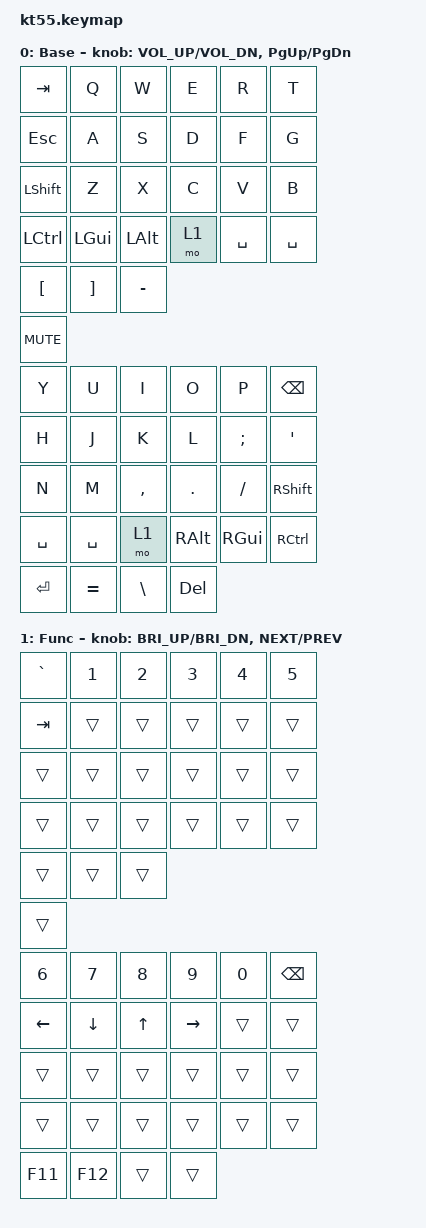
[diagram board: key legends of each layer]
/*
 * KT55 keymap
 *
 * Global key-position order = ALL of the left half's positions (0-27),
 * followed by ALL of the right half's positions (28-55). This matches
 * how ZMK numbers positions across a central(left)/peripheral(right)
 * split, so do NOT interleave left/right rows when editing this file.
 *
 * Left half (28 positions = 27 keys + 1 encoder1 push key):
 *   0-5   : row0 col0-5
 *   6-11  : row1 col0-5
 *   12-17 : row2 col0-5
 *   18-23 : row3 col0-5
 *   24-26 : row4 col0-2 (bottom row, 3 keys)
 *   27    : row4 col3  (encoder1 push switch)
 *
 * Right half (28 positions, global index = local + 28):
 *   28-33 : row0 col0-5
 *   34-39 : row1 col0-5
 *   40-45 : row2 col0-5
 *   46-51 : row3 col0-5
 *   52-55 : row4 col0-3 (bottom row, 4 keys)
 */

#include <behaviors.dtsi>
#include <dt-bindings/zmk/keys.h>
#include <dt-bindings/zmk/bt.h>
#include <dt-bindings/zmk/outputs.h>

/ {
    keymap {
        compatible = "zmk,keymap";

        default_layer {
            display-name = "Base";
            bindings = <
// ---- LEFT (positions 0-27) ----
&kp TAB    &kp Q    &kp W    &kp E    &kp R    &kp T
&kp ESC    &kp A    &kp S    &kp D    &kp F    &kp G
&kp LSHFT  &kp Z    &kp X    &kp C    &kp V    &kp B
&kp LCTRL  &kp LGUI &kp LALT &mo 1    &kp SPACE &kp SPACE
&kp LBKT   &kp RBKT &kp MINUS
&kp C_MUTE
// ---- RIGHT (positions 28-55) ----
&kp Y     &kp U    &kp I     &kp O   &kp P    &kp BSPC
&kp H     &kp J    &kp K     &kp L   &kp SEMI &kp SQT
&kp N     &kp M    &kp COMMA &kp DOT &kp FSLH &kp RSHFT
&kp SPACE &kp SPACE &mo 1    &kp RALT &kp RGUI &kp RCTRL
&kp ENTER &kp EQUAL &kp BSLH &kp DEL
            >;

            sensor-bindings = <&inc_dec_kp C_VOL_UP C_VOL_DN>, <&inc_dec_kp PG_UP PG_DN>;
        };

        function_layer {
            display-name = "Func";
            bindings = <
// ---- LEFT (positions 0-27) ----
&kp GRAVE &kp N1  &kp N2  &kp N3  &kp N4  &kp N5
&kp TAB   &trans  &trans  &trans  &trans  &trans
&trans    &trans  &trans  &trans  &trans  &trans
&trans    &trans  &trans  &trans  &trans  &trans
&trans    &trans  &trans
&trans
// ---- RIGHT (positions 28-55) ----
&kp N6   &kp N7   &kp N8 &kp N9    &kp N0   &kp BSPC
&kp LEFT &kp DOWN &kp UP &kp RIGHT &trans   &trans
&trans   &trans   &trans &trans    &trans   &trans
&trans   &trans   &trans &trans    &trans   &trans
&kp F11  &kp F12  &trans &trans
            >;

            sensor-bindings = <&inc_dec_kp C_BRI_UP C_BRI_DN>, <&inc_dec_kp C_NEXT C_PREV>;
        };
    };
};
